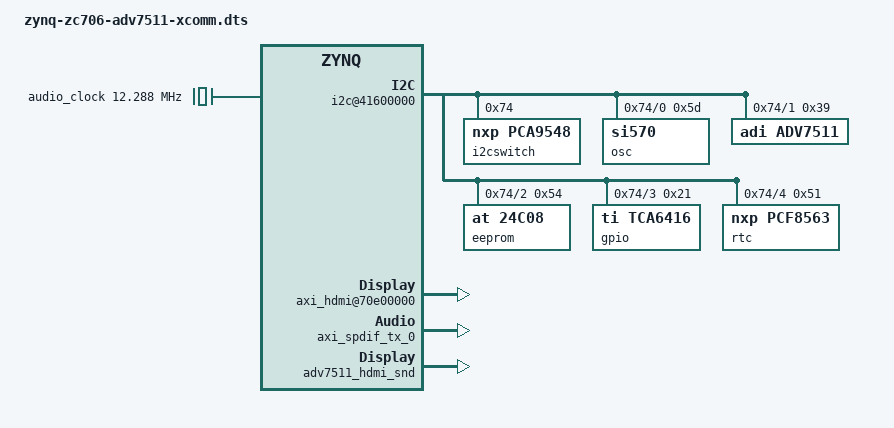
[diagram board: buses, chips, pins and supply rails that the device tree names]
/dts-v1/;

/include/ "zynq-zc706.dtsi"

/ {
	fpga_axi: fpga-axi@0 {
		compatible = "simple-bus";
		#address-cells = <0x1>;
		#size-cells = <0x1>;
		ranges;

		i2c@41600000 {
			compatible = "xlnx,axi-iic-1.02.a", "xlnx,xps-iic-2.00.a";
			interrupt-parent = <&gic>;
			interrupts = <0 58 4>;
			reg = <0x41600000 0x10000>;
			bus-id = <0>;
			#address-cells = <1>;
			#size-cells = <0>;

			i2cswitch@74 {
				compatible = "nxp,pca9548";
				#address-cells = <1>;
				#size-cells = <0>;
				reg = <0x74>;

				i2c@0 {
					#address-cells = <1>;
					#size-cells = <0>;
					reg = <0>;
					osc@5d {
						compatible = "si570";
						reg = <0x5d>;
						factory-fout = <156250000>;
						initial-fout = <148500000>;
					};
				};

				i2c@1 {
				    #address-cells = <1>;
				    #size-cells = <0>;
				    reg = <1>;

				    adv7511: adv7511 {
						compatible = "adi,adv7511";
						reg = <0x39>;

						adi,input-id = <0x00>;
						adi,input-style = <0x01>;
						adi,bit-justification = <0x00>;
						adi,input-color-depth = <0x3>;
						adi,sync-pulse = <0x03>;
						adi,up-conversion = <0x00>;
						adi,timing-generation-sequence = <0x00>;
						adi,vsync-polarity = <0x02>;
						adi,hsync-polarity = <0x02>;
						adi,tdms-clock-inversion;
						adi,clock-delay = <0x03>;
				    };
				};

				i2c@2 {
					#address-cells = <1>;
					#size-cells = <0>;
					reg = <2>;
					eeprom@54 {
						compatible = "at,24c08";
						reg = <0x54>;
					};
				};

				i2c@3 {
					#address-cells = <1>;
					#size-cells = <0>;
					reg = <3>;
					gpio@21 {
						compatible = "ti,tca6416";
						reg = <0x21>;
						gpio-controller;
						#gpio-cells = <2>;
					};
				};

				i2c@4 {
					#address-cells = <1>;
					#size-cells = <0>;
					reg = <4>;
					rtc@54 {
						compatible = "nxp,pcf8563";
						reg = <0x51>;
					};
				};

				xcomm_i2c: i2c@6 {
					#size-cells = <0>;
					#address-cells = <1>;
					reg = <6>;
				};
			};
		};

		axi_vdma_0: axivdma@43020000 {
			#address-cells = <1>;
			#size-cells = <1>;
			#dma-cells = <1>;
			compatible = "xlnx,axi-vdma";
			reg = <0x43020000 0x1000>;
			xlnx,include-sg = <0x0>;
			xlnx,num-fstores = <0x3>;
			dma-channel@43020000 {
				compatible = "xlnx,axi-vdma-mm2s-channel";
				interrupts = <0 59 0x4>;
				xlnx,datawidth = <0x40>;
				xlnx,genlock-mode = <0x0>;
				xlnx,include-dre = <0x0>;
			};
		};

		hdmi_clock: axi-clkgen@79000000 {
			compatible = "adi,axi-clkgen-2.00.a";
			reg = <0x79000000 0x10000>;
			#clock-cells = <0>;
			clocks = <&clkc 17>;
		};

		axi_hdmi@70e00000 {
			compatible = "adi,axi-hdmi-tx-1.00.a";
			reg = <0x70e00000 0x10000>;
			encoder-slave = <&adv7511>;
			dmas = <&axi_vdma_0 0>;
			dma-names = "video";
			clocks = <&hdmi_clock>;
			adi,is-rgb;
		};

		audio_clock: audio_clock {
			compatible = "fixed-clock";
			#clock-cells = <0>;
			clock-frequency = <12288000>;
		};

		axi_spdif_tx_0: axi-spdif-tx@0x75c00000 {
			compatible = "adi,axi-spdif-tx-1.00.a";
			reg = <0x75c00000 0x1000>;
			dmas = <&ps7_dma 0>;
			dma-names = "tx";
			clocks = <&clkc 15 &audio_clock>;
			clock-names = "axi", "spdif";
		};

		adv7511_hdmi_snd: adv7511_hdmi_snd {
			compatible = "adv7511-hdmi-snd";
			audio-codec = <&adv7511>;
			cpu-dai = <&axi_spdif_tx_0>;
		};

		rx_dma: dma@7c400000 {
			compatible = "adi,axi-dmac-1.00.a";
			reg = <0x7c400000 0x10000>;
			#dma-cells = <1>;
			interrupts = <0 57 0>;
			clocks = <&clkc 16>;

			dma-channel {
				adi,buswidth = <64>;
				adi,type = <0>;
			};
		};

		tx_dma: dma@7c420000 {
			compatible = "adi,axi-dmac-1.00.a";
			reg = <0x7c420000 0x10000>;
			#dma-cells = <1>;
			interrupts = <0 56 0>;
			clocks = <&clkc 16>;

			dma-channel {
				adi,buswidth = <64>;
				adi,type = <1>;
			};
		};

		cf_ad9643_core_0: cf-ad9643-core-lpc@79020000 {
			compatible = "adi,axi-ad9643-6.00.a";
			reg = <0x79020000 0x10000>;
			dmas = <&rx_dma 0>;
			dma-names = "rx";
			spibus-connected = <&adc0_ad9467>;
			xlnx,dphase-timeout = <0x8>;
			xlnx,num-mem = <0x1>;
			xlnx,num-reg = <0x1>;
			xlnx,s-axi-min-size = <0x1ff>;
			xlnx,slv-awidth = <0x20>;
			xlnx,slv-dwidth = <0x20>;
			xlnx,use-wstrb = <0x0>;
		} ;

		cf_ad9122_core_0: cf-ad9122-core-lpc@74204000 {
			compatible = "adi,axi-ad9122-6.00.a";
			reg = <0x74204000 0x10000>;
			spibus-connected = <&dac0_ad9122>;
			dmas = <&tx_dma 0>;
			dma-names = "tx";
			dac-sample-frequency = <491520000>;
			xlnx,dphase-timeout = <0x8>;
			xlnx,num-mem = <0x1>;
			xlnx,num-reg = <0x1>;
			xlnx,s-axi-min-size = <0x1ff>;
			xlnx,slv-awidth = <0x20>;
			xlnx,slv-dwidth = <0x20>;
			xlnx,use-wstrb = <0x0>;
		} ;
	};
};

/include/ "adi-fmcomms1.dtsi"

